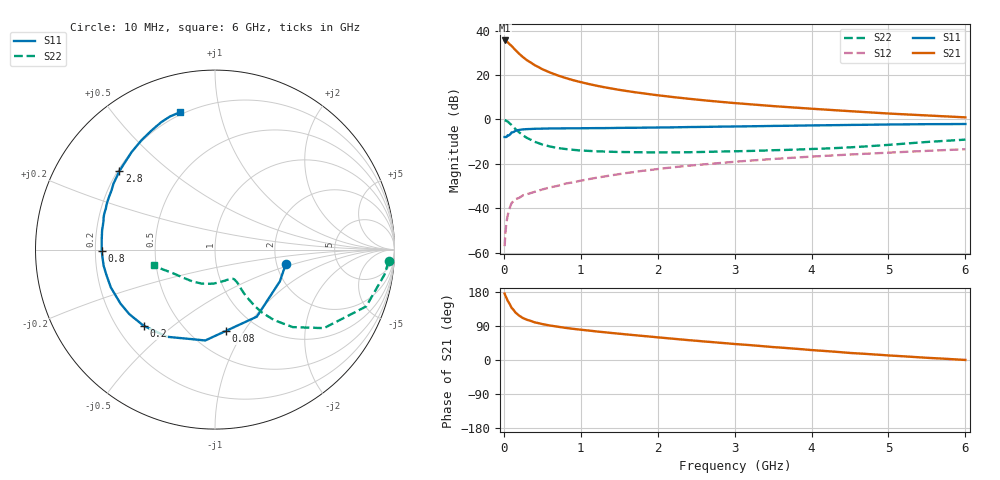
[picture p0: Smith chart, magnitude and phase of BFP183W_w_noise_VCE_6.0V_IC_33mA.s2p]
! Infineon Technologies  Discrete & RF Semiconductors
! BFP183W
! VCE =  6.0 V,  IC =  33 mA
! Common Emitter S-Parameters:  Jan 2017
# GHz  S  MA  R  50
!  f  S11  S21  S12  S22
! GHz  MAG  ANG  MAG  ANG  MAG  ANG  MAG  ANG
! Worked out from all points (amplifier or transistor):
!   77 points, 10 MHz to 6 GHz, reference 50 ohm
!   highest |S21| = 35.6 dB at 10 MHz (marker M1)
!   |S21| within 3 dB of that: start of sweep to 115.1 MHz
!   unconditionally stable (mu >= 1): 898.6 MHz to 3.359 GHz
!   at 130 MHz: K = 0.31, MSG = 34.3 dB, |S12| = -36.6 dB
!   at 2.2 GHz: K = 1.06, MAG = 14.3 dB, |S12| = -21.5 dB
!   at 6 GHz: K = 0.86, MSG = 7.2 dB, |S12| = -13.4 dB
!   lowest NFmin = 1.47 dB at 450 MHz
!   S11 on the Smith chart (normalised r, x): 10 MHz: 2.24, -0.44; 80 MHz: 0.73, -0.83; 200 MHz: 0.31, -0.40; 800 MHz: 0.23, -0.00; 2.8 GHz: 0.21, +0.34; 6 GHz: 0.19, +0.76
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0.01  0.4023 -11.7  60.16 175.3  0.0014 82.7  0.9696 -3.9
0.02  0.4024 -26.0  59.3 169.8  0.0027 85.6  0.9545 -8.4
0.05  0.4403 -58.0  54.96 156.2  0.0069 70.1  0.8998 -20.6
0.08  0.4572 -82.3  48.61 146.1  0.0105 63.7  0.8024 -29.0
0.1  0.5091 -96.1  45.4 137.9  0.013 61.4  0.7491 -35.7
0.15  0.5548 -118.9  36.7 125.6  0.016 52.9  0.6119 -44.9
0.2  0.5816 -133.1  30.07 116.9  0.0172 49.9  0.5116 -50.1
0.25  0.5976 -143.0  25.25 110.6  0.0196 48.8  0.4381 -53.2
0.3  0.6064 -150.2  21.6 106.1  0.0207 47.9  0.3843 -54.9
0.4  0.6174 -160.0  16.74 99.4  0.0234 51.5  0.3143 -56.3
0.5  0.6211 -166.7  13.56 94.8  0.0265 52.3  0.2729 -56.5
0.6  0.6269 -171.7  11.41 91.0  0.0295 55.0  0.2464 -56.3
0.7  0.6282 -175.7  9.811 87.9  0.032 57.7  0.2274 -55.9
0.8  0.6312 -179.4  8.623 84.8  0.0358 59.9  0.2162 -56.1
1.1  0.6356 172.4  6.307 77.8  0.0451 61.6  0.196 -57.2
1.5  0.6464 163.7  4.642 69.4  0.0587 63.2  0.1851 -61.9
2.1  0.6612 152.1  3.349 58.0  0.0801 62.0  0.1815 -74.0
2.8  0.6889 140.7  2.507 45.6  0.1041 59.1  0.1892 -92.4
3.1  0.6981 136.1  2.267 40.8  0.1148 57.3  0.1935 -100.6
4.1  0.7372 122.7  1.702 24.8  0.1489 51.5  0.219 -127.2
5.1  0.7723 112.1  1.333 10.9  0.1821 45.1  0.2758 -152.4
6  0.7897 104.3  1.115 0.1  0.2136 39.0  0.3513 -165.4
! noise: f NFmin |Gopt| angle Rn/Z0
0.45  1.47  0.28  -179  0.1
0.9  1.51  0.31  -177  0.1
1.9  2  0.46  -156  0.11
2.4  2.24  0.51  -151  0.16
